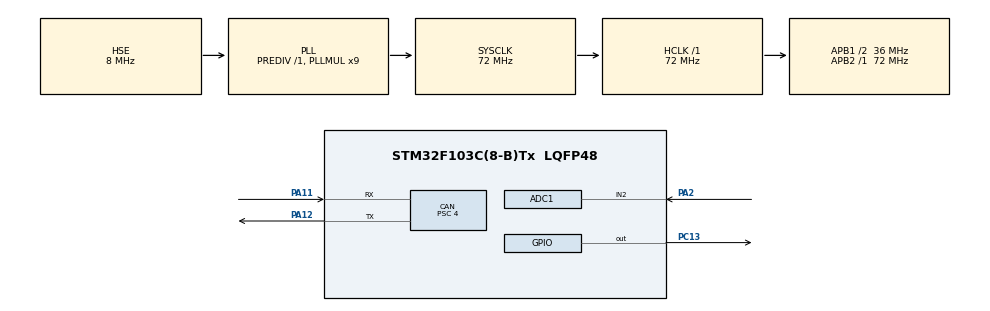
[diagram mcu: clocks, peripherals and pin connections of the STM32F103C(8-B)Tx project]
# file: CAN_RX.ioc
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ADC1.Channel-0\#ChannelRegularConversion=ADC_CHANNEL_2
ADC1.NbrOfConversionFlag=1
ADC1.Rank-0\#ChannelRegularConversion=1
ADC1.SamplingTime-0\#ChannelRegularConversion=ADC_SAMPLETIME_1CYCLE_5
ADC1.master=1
CAN.ABOM=ENABLE
CAN.AWUM=ENABLE
CAN.BS1=CAN_BS1_13TQ
CAN.BS2=CAN_BS2_4TQ
CAN.CalculateBaudRate=500000
CAN.CalculateTimeBit=2000
CAN.CalculateTimeQuantum=111.11111111111111
CAN.Prescaler=4
CAN.TXFP=ENABLE
Mcu.Family=STM32F1
Mcu.Name=STM32F103C(8-B)Tx
Mcu.Package=LQFP48
NVIC.PriorityGroup=NVIC_PRIORITYGROUP_4
NVIC.USB_LP_CAN1_RX0_IRQn=true\:0\:0\:false\:false\:true\:true\:true\:true
PA11.Mode=CAN_Activate
PA11.Signal=CAN_RX
PA12.Mode=CAN_Activate
PA12.Signal=CAN_TX
PA13.Mode=Serial_Wire
PA13.Signal=SYS_JTMS-SWDIO
PA14.Mode=Serial_Wire
PA14.Signal=SYS_JTCK-SWCLK
PA2.Signal=ADCx_IN2
PC13-TAMPER-RTC.Signal=GPIO_Output
PD0-OSC_IN.Mode=HSE-External-Oscillator
PD0-OSC_IN.Signal=RCC_OSC_IN
PD1-OSC_OUT.Mode=HSE-External-Oscillator
PD1-OSC_OUT.Signal=RCC_OSC_OUT
ProjectManager.HeapSize=0x200
ProjectManager.StackSize=0x400
ProjectManager.TargetToolchain=MDK-ARM V5.32
RCC.ADCPresc=RCC_ADCPCLK2_DIV6
RCC.AHBFreq_Value=72000000
RCC.APB1CLKDivider=RCC_HCLK_DIV2
RCC.APB1Freq_Value=36000000
RCC.APB1TimFreq_Value=72000000
RCC.APB2Freq_Value=72000000
RCC.APB2TimFreq_Value=72000000
RCC.HCLKFreq_Value=72000000
RCC.PLLMUL=RCC_PLL_MUL9
RCC.PLLSourceVirtual=RCC_PLLSOURCE_HSE
RCC.SYSCLKFreq_VALUE=72000000
RCC.SYSCLKSource=RCC_SYSCLKSOURCE_PLLCLK
RCC.USBFreq_Value=72000000
SH.ADCx_IN2.0=ADC1_IN2,IN2
board=custom

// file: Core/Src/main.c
/* USER CODE BEGIN Header */
/**
  ******************************************************************************
  * @file           : main.c
  * @brief          : Main program body
  ******************************************************************************
  * @attention
  *
  * Copyright (c) 2025 STMicroelectronics.
  * All rights reserved.
  *
  * This software is licensed under terms that can be found in the LICENSE file
  * in the root directory of this software component.
  * If no LICENSE file comes with this software, it is provided AS-IS.
  *
  ******************************************************************************
  */
/* USER CODE END Header */
#include "main.h"

ADC_HandleTypeDef hadc1;

CAN_HandleTypeDef hcan;

void SystemClock_Config(void);
static void MX_GPIO_Init(void);
static void MX_CAN_Init(void);
static void MX_ADC1_Init(void);

/* USER CODE BEGIN 0 */
float throttle_adc;  // giá tr? c?m bi?n tay ga
uint16_t throttle;
uint8_t limited_speed;  // c? gi?i h?n t?c d?
#define NGUONG_PIN     600
#define NGUONG_NHIET_DO   800   // ví d? 90°C
uint8_t  TxData[8];
uint8_t CAN_ReceivedData[8];  // M?ng toàn c?c ho?c static trong file
uint32_t TxMailbox;
typedef struct {
    uint16_t current_adc;      // 2 byte
    uint16_t temperature_adc;  // 2 byte
    uint8_t brake;         // 1 bit
} CAN_DataFrame_t;

CAN_DataFrame_t canRxData;

/* USER CODE END 0 */

int main(void)
{

  /* MCU Configuration--------------------------------------------------------*/

  /* Reset of all peripherals, Initializes the Flash interface and the Systick. */
  HAL_Init();

  /* Configure the system clock */
  SystemClock_Config();

  /* Initialize all configured peripherals */
  MX_GPIO_Init();
  MX_CAN_Init();
  MX_ADC1_Init();
  /* USER CODE BEGIN 2 */
HAL_CAN_Start(&hcan);
  CAN_FilterTypeDef filterConfig;
  filterConfig.FilterActivation = ENABLE;
  filterConfig.FilterBank = 0;
  filterConfig.FilterFIFOAssignment = CAN_FILTER_FIFO0;
  filterConfig.FilterIdHigh = 0x301<< 5;
  filterConfig.FilterIdLow = 0x0000;
  filterConfig.FilterMaskIdHigh = 0xFFE0;
  filterConfig.FilterMaskIdLow = 0x0000;
  filterConfig.FilterMode = CAN_FILTERMODE_IDMASK;
  filterConfig.FilterScale = CAN_FILTERSCALE_32BIT;

  HAL_CAN_ConfigFilter(&hcan, &filterConfig);
	HAL_CAN_ActivateNotification(&hcan, CAN_IT_RX_FIFO0_MSG_PENDING);

  /* USER CODE END 2 */

  /* Infinite loop */
  while (1)
  {

    /* USER CODE BEGIN 3 */
		 HAL_ADC_Start(&hadc1);
    HAL_ADC_PollForConversion(&hadc1, 100);
    throttle_adc = HAL_ADC_GetValue(&hadc1);
    HAL_ADC_Stop(&hadc1);
		throttle = (throttle_adc / 4095.0f) * 1500.0f;
		if (limited_speed)
{
    throttle = throttle/2;
} else throttle = throttle;
CAN_TxHeaderTypeDef TxHeader;
// G?i tay ga cho node 3 d? hi?n th?
TxHeader.StdId = 0x201;  // ID g?i cho node 3 t? node 2
TxHeader.DLC = 8;
TxHeader. IDE = CAN_ID_STD;
TxHeader.RTR= CAN_RTR_DATA;
TxData[0] = (throttle >> 8) & 0xFF;
TxData[1] = throttle & 0xFF;
TxData[2] =0;
TxData[3] =0;
TxData[4] =0;
TxData[5] =0;
TxData[6] =0;
TxData[7]=0;

HAL_CAN_AddTxMessage(&hcan, &TxHeader, TxData, &TxMailbox);
HAL_Delay(50);
  /* USER CODE END 3 */
}}

void SystemClock_Config(void)
{
  RCC_OscInitTypeDef RCC_OscInitStruct = {0};
  RCC_ClkInitTypeDef RCC_ClkInitStruct = {0};
  RCC_PeriphCLKInitTypeDef PeriphClkInit = {0};

  /** Initializes the RCC Oscillators according to the specified parameters
  * in the RCC_OscInitTypeDef structure.
  */
  RCC_OscInitStruct.OscillatorType = RCC_OSCILLATORTYPE_HSE;
  RCC_OscInitStruct.HSEState = RCC_HSE_ON;
  RCC_OscInitStruct.HSEPredivValue = RCC_HSE_PREDIV_DIV1;
  RCC_OscInitStruct.HSIState = RCC_HSI_ON;
  RCC_OscInitStruct.PLL.PLLState = RCC_PLL_ON;
  RCC_OscInitStruct.PLL.PLLSource = RCC_PLLSOURCE_HSE;
  RCC_OscInitStruct.PLL.PLLMUL = RCC_PLL_MUL9;
  if (HAL_RCC_OscConfig(&RCC_OscInitStruct) != HAL_OK)
  {
    Error_Handler();
  }

  /** Initializes the CPU, AHB and APB buses clocks
  */
  RCC_ClkInitStruct.ClockType = RCC_CLOCKTYPE_HCLK|RCC_CLOCKTYPE_SYSCLK
                              |RCC_CLOCKTYPE_PCLK1|RCC_CLOCKTYPE_PCLK2;
  RCC_ClkInitStruct.SYSCLKSource = RCC_SYSCLKSOURCE_PLLCLK;
  RCC_ClkInitStruct.AHBCLKDivider = RCC_SYSCLK_DIV1;
  RCC_ClkInitStruct.APB1CLKDivider = RCC_HCLK_DIV2;
  RCC_ClkInitStruct.APB2CLKDivider = RCC_HCLK_DIV1;

  if (HAL_RCC_ClockConfig(&RCC_ClkInitStruct, FLASH_LATENCY_2) != HAL_OK)
  {
    Error_Handler();
  }
  PeriphClkInit.PeriphClockSelection = RCC_PERIPHCLK_ADC;
  PeriphClkInit.AdcClockSelection = RCC_ADCPCLK2_DIV6;
  if (HAL_RCCEx_PeriphCLKConfig(&PeriphClkInit) != HAL_OK)
  {
    Error_Handler();
  }
}

static void MX_ADC1_Init(void)
{

  ADC_ChannelConfTypeDef sConfig = {0};

  /** Common config
  */
  hadc1.Instance = ADC1;
  hadc1.Init.ScanConvMode = ADC_SCAN_DISABLE;
  hadc1.Init.ContinuousConvMode = DISABLE;
  hadc1.Init.DiscontinuousConvMode = DISABLE;
  hadc1.Init.ExternalTrigConv = ADC_SOFTWARE_START;
  hadc1.Init.DataAlign = ADC_DATAALIGN_RIGHT;
  hadc1.Init.NbrOfConversion = 1;
  if (HAL_ADC_Init(&hadc1) != HAL_OK)
  {
    Error_Handler();
  }

  /** Configure Regular Channel
  */
  sConfig.Channel = ADC_CHANNEL_2;
  sConfig.Rank = ADC_REGULAR_RANK_1;
  sConfig.SamplingTime = ADC_SAMPLETIME_1CYCLE_5;
  if (HAL_ADC_ConfigChannel(&hadc1, &sConfig) != HAL_OK)
  {
    Error_Handler();
  }

}

static void MX_CAN_Init(void)
{

  hcan.Instance = CAN1;
  hcan.Init.Prescaler = 4;
  hcan.Init.Mode = CAN_MODE_NORMAL;
  hcan.Init.SyncJumpWidth = CAN_SJW_1TQ;
  hcan.Init.TimeSeg1 = CAN_BS1_13TQ;
  hcan.Init.TimeSeg2 = CAN_BS2_4TQ;
  hcan.Init.TimeTriggeredMode = DISABLE;
  hcan.Init.AutoBusOff = ENABLE;
  hcan.Init.AutoWakeUp = ENABLE;
  hcan.Init.AutoRetransmission = DISABLE;
  hcan.Init.ReceiveFifoLocked = DISABLE;
  hcan.Init.TransmitFifoPriority = ENABLE;
  if (HAL_CAN_Init(&hcan) != HAL_OK)
  {
    Error_Handler();
  }

}

static void MX_GPIO_Init(void)
{
  GPIO_InitTypeDef GPIO_InitStruct = {0};

  /* GPIO Ports Clock Enable */
  __HAL_RCC_GPIOC_CLK_ENABLE();
  __HAL_RCC_GPIOD_CLK_ENABLE();
  __HAL_RCC_GPIOA_CLK_ENABLE();

  /*Configure GPIO pin Output Level */
  HAL_GPIO_WritePin(GPIOC, GPIO_PIN_13, GPIO_PIN_RESET);

  /*Configure GPIO pin : PC13 */
  GPIO_InitStruct.Pin = GPIO_PIN_13;
  GPIO_InitStruct.Mode = GPIO_MODE_OUTPUT_PP;
  GPIO_InitStruct.Pull = GPIO_NOPULL;
  GPIO_InitStruct.Speed = GPIO_SPEED_FREQ_LOW;
  HAL_GPIO_Init(GPIOC, &GPIO_InitStruct);

}

/* USER CODE BEGIN 4 */
void HAL_CAN_RxFifo0MsgPendingCallback(CAN_HandleTypeDef *hcan)
{
    CAN_RxHeaderTypeDef RxHeader;
    uint8_t RxData[8];

    if (HAL_CAN_GetRxMessage(hcan, CAN_RX_FIFO0, &RxHeader, RxData) == HAL_OK)
    {
        if (RxHeader.StdId == 0x301 && RxHeader.DLC == 8)
        {
            // Gán toàn b? d? li?u nh?n du?c d? debug
            for (int i = 0; i < 8; i++)
            {
               CAN_ReceivedData[i] = RxData[i];
            }

            // Gi?i mã d? li?u vào struct
            canRxData.current_adc      = (RxData[0] << 8) | RxData[1];
            canRxData.temperature_adc  = (RxData[2] << 8) | RxData[3];
						    canRxData.brake = (RxData[4] >> 7) & 0x01;

// X? lý di?u ki?n
    if (canRxData.temperature_adc > NGUONG_NHIET_DO)  // ví d? 800 ~ 80 d? C
    {
        throttle = 0;  // t?t tay ga

    }
    else if (canRxData.brake)
    {
        throttle = 0;  // d?ng xe

    }
    else if (canRxData.current_adc < NGUONG_PIN)  // ví d? 2048 (n?u ADC 12bit max = 4095)
    {
        limited_speed = 1;
    }
    else
    {
        limited_speed = 0;
    }
}

        }
    }

/* USER CODE END 4 */

void Error_Handler(void)
{
  __disable_irq();
  while (1)
  {
  }
}
